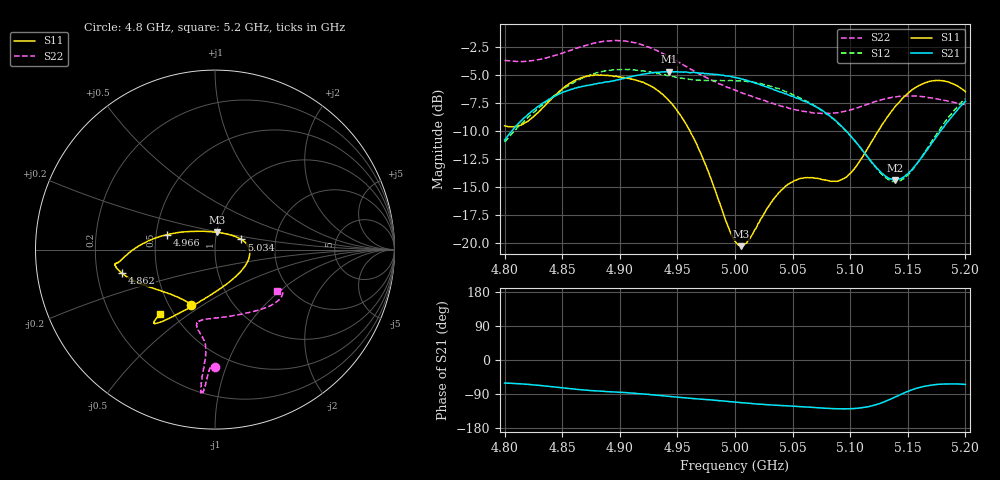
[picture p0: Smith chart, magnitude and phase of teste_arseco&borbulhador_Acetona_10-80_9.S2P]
! Network Analyzer HP8722D
! Hewlett-Packard
! Data name: Linha & Wilkinson
! Saver's name: Rodrigo Anjos
! Comments: Teste da utilização de aquisição
! continua pelo VNA HP8722D
! Time and date: 17/4/2025 14:26
!  Frequency  S11  S21  S12  S22
# HZ  S  MA R 50
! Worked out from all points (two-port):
!   401 points, 4.8 GHz to 5.2 GHz, reference 50 ohm
!   highest |S21| = -4.68 dB at 4.943 GHz (marker M1); lowest = -14.4 dB at 5.139 GHz (marker M2)
!   |S21| within 3 dB of the highest: 4.831 GHz to 5.067 GHz (236.4 MHz wide, 4.78 % of centre); 5.196927 GHz to end of sweep
!   lowest |S11| = -20.3 dB at 5.005 GHz (marker M3), VSWR 1.21, Z = 50.1 + j9.69 ohm
!   |S11| at or under -10 dB: 4.961 GHz to 5.124 GHz (163.3 MHz wide, 3.24 % of centre)
!   |S22| runs from -8.5 to -1.9 dB; largest |S21 - S12| = 0.88
!   S11 on the Smith chart (normalised r, x): 4.8 GHz: 0.65, -0.44; 4.862 GHz: 0.31, -0.11; 4.966 GHz: 0.57, +0.10; 5.034 GHz: 1.34, +0.15; 5.2 GHz: 0.42, -0.39
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4.8e9  0.3336 -113.4  0.2876 -60.9  0.2821 -175.0  0.655 -90.0
4.819e9  0.3472 -133.3  0.3692 -64.0  0.3581 -173.7  0.65 -91.7
4.862e9  0.5359 -165.8  0.4932 -77.1  0.5283 -176.8  0.7427 -94.0
4.867e9  0.5484 -167.7  0.5005 -78.6  0.543 -177.7  0.7562 -94.0
4.9e9  0.553 -172.2  0.5384 -85.3  0.5962 175.5  0.8032 -95.3
4.934e9  0.4752 -178.2  0.5787 -93.6  0.572 171.8  0.7171 -95.8
4.943e9  0.4302 177.8  0.5838 -96.1  0.5594 171.8  0.6792 -95.6
4.966e9  0.2806 162.7  0.5769 -102.0  0.5351 173.6  0.5794 -95.1
5e9  0.1015 101.8  0.5489 -111.2  0.5326 176.0  0.4818 -99.2
5.005e9  0.09637 84.2  0.5428 -112.6  0.5296 176.0  0.4701 -100.5
5.012e9  0.1026 61.2  0.5287 -114.3  0.5244 175.9  0.457 -102.0
5.034e9  0.1576 20.9  0.4831 -119.3  0.4945 174.7  0.4181 -103.4
5.048e9  0.1853 6.5  0.4553 -121.4  0.4662 174.3  0.3991 -100.4
5.067e9  0.1954 -13.6  0.4146 -125.0  0.4166 173.6  0.3825 -90.8
5.087e9  0.1882 -45.5  0.353 -128.5  0.352 173.6  0.3807 -75.6
5.097e9  0.1968 -66.2  0.3135 -129.0  0.3137 174.6  0.3891 -67.3
5.134e9  0.3756 -116.4  0.1936 -104.6  0.1903 -157.6  0.4449 -43.1
5.139e9  0.4066 -119.4  0.191 -97.7  0.1878 -149.8  0.4498 -40.8
5.151e9  0.4707 -124.4  0.206 -81.7  0.203 -131.2  0.4539 -36.4
5.17e9  0.5289 -128.9  0.2747 -66.5  0.2797 -112.6  0.4454 -32.0
5.184e9  0.5262 -130.1  0.3454 -63.2  0.3566 -107.3  0.4319 -31.0
5.2e9  0.4746 -130.5  0.4292 -64.4  0.4416 -106.5  0.4149 -33.3
